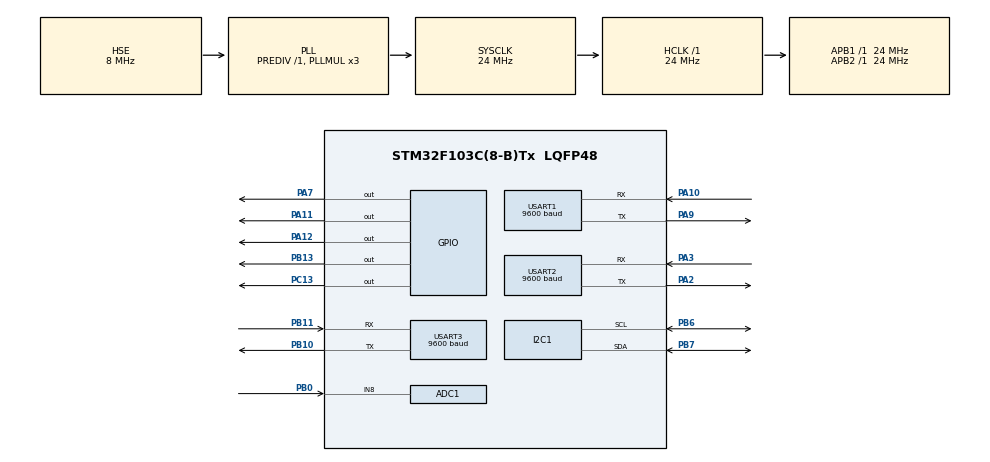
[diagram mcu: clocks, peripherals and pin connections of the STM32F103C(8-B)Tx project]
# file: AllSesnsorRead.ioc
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ADC1.Channel-0\#ChannelRegularConversion=ADC_CHANNEL_8
ADC1.NbrOfConversionFlag=1
ADC1.Rank-0\#ChannelRegularConversion=1
ADC1.SamplingTime-0\#ChannelRegularConversion=ADC_SAMPLETIME_1CYCLE_5
ADC1.master=1
Mcu.Family=STM32F1
Mcu.Name=STM32F103C(8-B)Tx
Mcu.Package=LQFP48
NVIC.PriorityGroup=NVIC_PRIORITYGROUP_4
NVIC.USART1_IRQn=true\:0\:0\:false\:false\:true\:true\:true\:true
PA10.Mode=Asynchronous
PA10.Signal=USART1_RX
PA11.Signal=GPIO_Output
PA12.Signal=GPIO_Output
PA13.Mode=Serial_Wire
PA13.Signal=SYS_JTMS-SWDIO
PA14.Mode=Serial_Wire
PA14.Signal=SYS_JTCK-SWCLK
PA2.Mode=Asynchronous
PA2.Signal=USART2_TX
PA3.Mode=Asynchronous
PA3.Signal=USART2_RX
PA7.Signal=GPIO_Output
PA9.Mode=Asynchronous
PA9.Signal=USART1_TX
PB0.Signal=ADCx_IN8
PB10.Mode=Asynchronous
PB10.Signal=USART3_TX
PB11.Mode=Asynchronous
PB11.Signal=USART3_RX
PB13.Signal=GPIO_Output
PB6.Mode=I2C
PB6.Signal=I2C1_SCL
PB7.Mode=I2C
PB7.Signal=I2C1_SDA
PC13-TAMPER-RTC.Signal=GPIO_Output
PD0-OSC_IN.Mode=HSE-External-Oscillator
PD0-OSC_IN.Signal=RCC_OSC_IN
PD1-OSC_OUT.Mode=HSE-External-Oscillator
PD1-OSC_OUT.Signal=RCC_OSC_OUT
ProjectManager.HeapSize=0x200
ProjectManager.StackSize=0x400
ProjectManager.TargetToolchain=STM32CubeIDE
RCC.AHBFreq_Value=24000000
RCC.APB1Freq_Value=24000000
RCC.APB1TimFreq_Value=24000000
RCC.APB2Freq_Value=24000000
RCC.APB2TimFreq_Value=24000000
RCC.HCLKFreq_Value=24000000
RCC.PLLMUL=RCC_PLL_MUL3
RCC.PLLSourceVirtual=RCC_PLLSOURCE_HSE
RCC.SYSCLKFreq_VALUE=24000000
RCC.SYSCLKSource=RCC_SYSCLKSOURCE_PLLCLK
RCC.USBFreq_Value=24000000
SH.ADCx_IN8.0=ADC1_IN8,IN8
USART1.BaudRate=9600
USART1.VirtualMode=VM_ASYNC
USART2.BaudRate=9600
USART2.VirtualMode=VM_ASYNC
USART3.BaudRate=9600
USART3.VirtualMode=VM_ASYNC
board=custom

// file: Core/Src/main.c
/* USER CODE BEGIN Header */
/**
  ******************************************************************************
  * @file           : main.c
  * @brief          : Main program body
  ******************************************************************************
  * @attention
  *
  * Copyright (c) 2025 STMicroelectronics.
  * All rights reserved.
  *
  * This software is licensed under terms that can be found in the LICENSE file
  * in the root directory of this software component.
  * If no LICENSE file comes with this software, it is provided AS-IS.
  *
  ******************************************************************************
  */
/* USER CODE END Header */
#include "main.h"

/* USER CODE BEGIN Includes */
#include "stdio.h"
#include "stdint.h"
#include "string.h"
/* USER CODE END Includes */

/* USER CODE BEGIN PTD */
typedef enum
{
	STATE_Wait,
	SHT31_DATA_READ,
	CO_DATA_READ,
	PM_DATA_READ,
	MAKE_AVARAGE,
	SEND_LORA,
	CLEAR_BUFFER,

}System_States;

typedef struct{
	uint16_t Lora_Addres;
	uint8_t Lora_Channel;
}Lora_Destination;

/* USER CODE END PTD */

/* USER CODE BEGIN PD */
#define SampleSize 10 							// kaç verinin ardarda okunacağını belirler
#define SHT31_ADDR (0x44 << 1)  				//sht31 addres
uint8_t sht31_read_command[2]= {0x2C , 0x06}; // 0x2C clock stretch enable , 0x06 high repeatibility
#define baslangıc 0xAA
#define final 0xAB
#define BufferSize 64

//	Sensörelerden okunan verilerin sonrasında ortalaması alınması için içinde saklanacağı değişken
volatile uint16_t temp_buff[SampleSize];
volatile uint16_t humidity_buff[SampleSize];
volatile uint16_t CO_buff[SampleSize];
volatile uint16_t PM25_buff[SampleSize];
volatile uint16_t PM10_buff[SampleSize];

volatile uint16_t avg_temperature_celsius; // SHT31 için ham sıcaklık ortalamasını veya °C'yi saklar
volatile uint16_t avg_humidity_percent;  	// SHT31 için ham nem ortalamasını veya %RH'yi saklar
volatile uint16_t avg_co_value;          	// CO sensörünün ortalama ham ADC değerini saklar
volatile uint16_t avg_pm25_ugm3;        	// PM2.5 için ortalama değeri (μg/m³) saklar
volatile uint16_t avg_pm10_ugm3;      	// PM10 için ortalama değeri (μg/m³) saklar
uint8_t byte;

Lora_Destination Current_Destination;
Lora_Destination Destination1;
Lora_Destination Destination2;
static volatile System_States state;

uint8_t veribuff[13];

/* USER CODE END PD */

ADC_HandleTypeDef hadc1;

I2C_HandleTypeDef hi2c1;

UART_HandleTypeDef huart1;
UART_HandleTypeDef huart2;
UART_HandleTypeDef huart3;

void SystemClock_Config(void);
static void MX_GPIO_Init(void);
static void MX_ADC1_Init(void);
static void MX_I2C1_Init(void);
static void MX_USART2_UART_Init(void);
static void MX_USART3_UART_Init(void);
static void MX_USART1_UART_Init(void);

/* USER CODE BEGIN 0 */

void HAL_UART_RxCpltCallback(UART_HandleTypeDef *huart){
	if (huart->Instance == USART1) {
		//HAL_PWR_DisableSleepOnExit();
		//HAL_ResumeTick();
		state=SHT31_DATA_READ;
		HAL_UART_Receive_IT(huart, &byte, 1);  // tekrar başlat
	}
}

void Lora_Send(uint8_t *message,uint8_t lenght,Lora_Destination *Destination){
	if(lenght < BufferSize){
		uint8_t tx_buffer[BufferSize+3];
		tx_buffer[0]=(Destination->Lora_Addres >> 8) & 0xFF;
		tx_buffer[1]= Destination->Lora_Addres & 0xFF;
		tx_buffer[2]= Destination->Lora_Channel;

		memcpy(&tx_buffer[3],message,lenght);
		HAL_UART_Transmit(&huart1, tx_buffer, lenght+3 ,HAL_MAX_DELAY);
}
}
void LedBlink(int time,int delay)
{
	for(int i=0;i<time;i++){
	HAL_GPIO_WritePin(GPIOB, GPIO_PIN_13, 1);
	HAL_Delay(delay);
	HAL_GPIO_WritePin(GPIOB, GPIO_PIN_13, 0);
	HAL_Delay(delay);
	}
}

uint8_t SDS_sensor(volatile uint16_t *pm25, volatile uint16_t *pm10) {
    uint8_t ch;
    uint8_t SDS_DATA[10];

    // İlk byte olarak 0xAA gelene kadar bekle
    do {
        if (HAL_UART_Receive(&huart2, &ch,1,100) != HAL_OK) {

            return 0; // timeout veya hata
        }
    } while (ch != 0xAA);

    SDS_DATA[0] = ch;

    // Kalan 9 byte'ı oku (toplam 10 byte olacak)
    if (HAL_UART_Receive(&huart2, &SDS_DATA[1], 9, 100) != HAL_OK) {
        return 0;
    }

    // Baş ve son byte kontrolü
    if (SDS_DATA[1] != 0xC0 || SDS_DATA[9] != 0xAB) {
        return 0;
    }

    // Checksum hesapla (Byte 2-7 toplamı)
    uint8_t sum = 0;
    for (int i = 2; i <= 7; i++) {
        sum += SDS_DATA[i];
    }
    if (SDS_DATA[8] != sum) {
        return 0;
    }

    // PM2.5 ve PM10 hesapla
    *pm25 = ((uint16_t)SDS_DATA[3] << 8 | SDS_DATA[2]) / 10;
    *pm10 = ((uint16_t)SDS_DATA[5] << 8 | SDS_DATA[4]) / 10;

    return 1;
}
void Veri_LowHigh(){
	veribuff[1] = avg_pm25_ugm3 & 0xFF;
	veribuff[2]= (avg_pm25_ugm3 >> 8) & 0xFF;
	veribuff[3] = avg_pm10_ugm3 & 0xFF;
	veribuff[4]= (avg_pm10_ugm3 >> 8) & 0xFF;
	veribuff[5] = avg_co_value & 0xFF;
	veribuff[6]= (avg_co_value >> 8) & 0xFF;
	veribuff[7]= avg_temperature_celsius & 0xFF;
	veribuff[8]= (avg_temperature_celsius >> 8) & 0xFF;
	veribuff[9]= avg_humidity_percent & 0xFF;
	veribuff[10]= (avg_humidity_percent >> 8) & 0xFF;

}
void CheckSum(){
	veribuff[11]= 0;
	for(int i=1;i<=10;i++){
		veribuff[11] += veribuff[i];
	}
}
/* USER CODE END 0 */

int main(void)
{

  /* USER CODE BEGIN 1 */
	Destination1.Lora_Addres=0x0002;
	Destination1.Lora_Channel=0x02;

	Destination2.Lora_Addres=0x0001;
	Destination2.Lora_Channel=0x02;

	Current_Destination = Destination1;

	veribuff[0]=baslangıc;
	veribuff[12]=final;

  /* USER CODE END 1 */

  /* MCU Configuration--------------------------------------------------------*/

  /* Reset of all peripherals, Initializes the Flash interface and the Systick. */
  HAL_Init();

  /* Configure the system clock */
  SystemClock_Config();

  /* Initialize all configured peripherals */
  MX_GPIO_Init();
  MX_ADC1_Init();
  MX_I2C1_Init();
  MX_USART2_UART_Init();
  MX_USART3_UART_Init();
  MX_USART1_UART_Init();
  /* USER CODE BEGIN 2 */
  HAL_UART_Receive_IT(&huart1, &byte, 1);
  LedBlink(3, 100);
  state=STATE_Wait;
  /* USER CODE END 2 */

  /* Infinite loop */
  /* USER CODE BEGIN WHILE */
  while (1)
  {
	  switch(state){
	  case STATE_Wait:
		  LedBlink(3,200);
	  break;
	 case SHT31_DATA_READ:			//okunana datalar ortlama alındıktan sorna anlamdırlacaka.
	  for(int i=0;i<SampleSize;i++)
	  {

		  uint8_t sht31_raw_data[6];
		  HAL_I2C_Master_Transmit(&hi2c1, SHT31_ADDR, sht31_read_command, 2, HAL_MAX_DELAY); // ölçüm istegi yolla
		  HAL_Delay(20);	//20ms datanin hazirlanmasi datasheet degeri 15ms

		  HAL_I2C_Master_Receive(&hi2c1, SHT31_ADDR, sht31_raw_data, 6, HAL_MAX_DELAY); 	// gelen verileri raw_dataya kaydet

		  temp_buff[i] = 		(sht31_raw_data[0] << 8) | sht31_raw_data[1];				//high bit ile low bitler OR yöntemi ile 16bit buffere kaydedildi
		  humidity_buff[i] =	(sht31_raw_data[3] << 8) | sht31_raw_data[4];
	  }
	  state = CO_DATA_READ;
	break;

	  case CO_DATA_READ:
		  for(int i=0;i<SampleSize;i++)
		  {
			  HAL_ADC_Start(&hadc1);								//adc yi başlat

			  if(HAL_ADC_PollForConversion(&hadc1,100) == HAL_OK)	//okumanın bitmesini bekle
			  {
				  CO_buff[i] = HAL_ADC_GetValue(&hadc1);			//değeri buffere ekle
			  }
			  else{
				  i-=1;
			  }
		  }
		  state = PM_DATA_READ;
		  break;

	  case PM_DATA_READ:
		  for(int i=0;i<SampleSize;i++)
		  {
			 while(!SDS_sensor(&PM25_buff[i],&PM10_buff[i]));// eğer Sensörden veri gelmiyorsa burda döngüye giriyor

		  }
		  state = MAKE_AVARAGE;
		  break;
	  case MAKE_AVARAGE:
		  // TÜm değerleri toplamak için gerekli değişkenler

		  uint32_t sum_temp = 0;
		  uint32_t sum_humidity = 0;
		  uint32_t sum_co = 0;
		  uint32_t sum_pm25 = 0;
		  uint32_t sum_pm10 = 0;

		  // 1. Adım: Tüm örneklerin toplamını al
		  for (int k = 0; k < SampleSize; k++)
		  {
			  sum_temp += temp_buff[k];
			  sum_humidity += humidity_buff[k];
			  sum_co += CO_buff[k];
			  sum_pm25 += PM25_buff[k];
			  sum_pm10 += PM10_buff[k];
		  }

		avg_temperature_celsius = sum_temp / SampleSize; 	// SHT31
		avg_humidity_percent = sum_humidity / SampleSize;

		avg_co_value = sum_co / SampleSize;					//CO

		avg_pm25_ugm3 = sum_pm25 / SampleSize; 		//PM
		avg_pm10_ugm3 = sum_pm10 / SampleSize;

		state = SEND_LORA;

		  break;

	  case SEND_LORA:
		  Veri_LowHigh();
		  CheckSum();
		  Lora_Send(veribuff,sizeof(veribuff),&Current_Destination);
			 state = CLEAR_BUFFER;
		  break;

	  case CLEAR_BUFFER:
		  for(int i=0;i<SampleSize;i++)
		  {
			  temp_buff[i]=0;
			  humidity_buff[i]=0;
			  CO_buff[i]=0;
			  PM25_buff[i]=0;
			  PM10_buff[i]=0;
		  }

		  state = STATE_Wait;
		  break;

  }

    /* USER CODE END WHILE */

  }
}

void SystemClock_Config(void)
{
  RCC_OscInitTypeDef RCC_OscInitStruct = {0};
  RCC_ClkInitTypeDef RCC_ClkInitStruct = {0};
  RCC_PeriphCLKInitTypeDef PeriphClkInit = {0};

  /** Initializes the RCC Oscillators according to the specified parameters
  * in the RCC_OscInitTypeDef structure.
  */
  RCC_OscInitStruct.OscillatorType = RCC_OSCILLATORTYPE_HSE;
  RCC_OscInitStruct.HSEState = RCC_HSE_ON;
  RCC_OscInitStruct.HSEPredivValue = RCC_HSE_PREDIV_DIV1;
  RCC_OscInitStruct.HSIState = RCC_HSI_ON;
  RCC_OscInitStruct.PLL.PLLState = RCC_PLL_ON;
  RCC_OscInitStruct.PLL.PLLSource = RCC_PLLSOURCE_HSE;
  RCC_OscInitStruct.PLL.PLLMUL = RCC_PLL_MUL3;
  if (HAL_RCC_OscConfig(&RCC_OscInitStruct) != HAL_OK)
  {
    Error_Handler();
  }

  /** Initializes the CPU, AHB and APB buses clocks
  */
  RCC_ClkInitStruct.ClockType = RCC_CLOCKTYPE_HCLK|RCC_CLOCKTYPE_SYSCLK
                              |RCC_CLOCKTYPE_PCLK1|RCC_CLOCKTYPE_PCLK2;
  RCC_ClkInitStruct.SYSCLKSource = RCC_SYSCLKSOURCE_PLLCLK;
  RCC_ClkInitStruct.AHBCLKDivider = RCC_SYSCLK_DIV1;
  RCC_ClkInitStruct.APB1CLKDivider = RCC_HCLK_DIV1;
  RCC_ClkInitStruct.APB2CLKDivider = RCC_HCLK_DIV1;

  if (HAL_RCC_ClockConfig(&RCC_ClkInitStruct, FLASH_LATENCY_0) != HAL_OK)
  {
    Error_Handler();
  }
  PeriphClkInit.PeriphClockSelection = RCC_PERIPHCLK_ADC;
  PeriphClkInit.AdcClockSelection = RCC_ADCPCLK2_DIV2;
  if (HAL_RCCEx_PeriphCLKConfig(&PeriphClkInit) != HAL_OK)
  {
    Error_Handler();
  }
}

static void MX_ADC1_Init(void)
{

  ADC_ChannelConfTypeDef sConfig = {0};

  /** Common config
  */
  hadc1.Instance = ADC1;
  hadc1.Init.ScanConvMode = ADC_SCAN_DISABLE;
  hadc1.Init.ContinuousConvMode = DISABLE;
  hadc1.Init.DiscontinuousConvMode = DISABLE;
  hadc1.Init.ExternalTrigConv = ADC_SOFTWARE_START;
  hadc1.Init.DataAlign = ADC_DATAALIGN_RIGHT;
  hadc1.Init.NbrOfConversion = 1;
  if (HAL_ADC_Init(&hadc1) != HAL_OK)
  {
    Error_Handler();
  }

  /** Configure Regular Channel
  */
  sConfig.Channel = ADC_CHANNEL_8;
  sConfig.Rank = ADC_REGULAR_RANK_1;
  sConfig.SamplingTime = ADC_SAMPLETIME_1CYCLE_5;
  if (HAL_ADC_ConfigChannel(&hadc1, &sConfig) != HAL_OK)
  {
    Error_Handler();
  }

}

static void MX_I2C1_Init(void)
{

  hi2c1.Instance = I2C1;
  hi2c1.Init.ClockSpeed = 100000;
  hi2c1.Init.DutyCycle = I2C_DUTYCYCLE_2;
  hi2c1.Init.OwnAddress1 = 0;
  hi2c1.Init.AddressingMode = I2C_ADDRESSINGMODE_7BIT;
  hi2c1.Init.DualAddressMode = I2C_DUALADDRESS_DISABLE;
  hi2c1.Init.OwnAddress2 = 0;
  hi2c1.Init.GeneralCallMode = I2C_GENERALCALL_DISABLE;
  hi2c1.Init.NoStretchMode = I2C_NOSTRETCH_DISABLE;
  if (HAL_I2C_Init(&hi2c1) != HAL_OK)
  {
    Error_Handler();
  }

}

static void MX_USART1_UART_Init(void)
{

  huart1.Instance = USART1;
  huart1.Init.BaudRate = 9600;
  huart1.Init.WordLength = UART_WORDLENGTH_8B;
  huart1.Init.StopBits = UART_STOPBITS_1;
  huart1.Init.Parity = UART_PARITY_NONE;
  huart1.Init.Mode = UART_MODE_TX_RX;
  huart1.Init.HwFlowCtl = UART_HWCONTROL_NONE;
  huart1.Init.OverSampling = UART_OVERSAMPLING_16;
  if (HAL_UART_Init(&huart1) != HAL_OK)
  {
    Error_Handler();
  }

}

static void MX_USART2_UART_Init(void)
{

  huart2.Instance = USART2;
  huart2.Init.BaudRate = 9600;
  huart2.Init.WordLength = UART_WORDLENGTH_8B;
  huart2.Init.StopBits = UART_STOPBITS_1;
  huart2.Init.Parity = UART_PARITY_NONE;
  huart2.Init.Mode = UART_MODE_TX_RX;
  huart2.Init.HwFlowCtl = UART_HWCONTROL_NONE;
  huart2.Init.OverSampling = UART_OVERSAMPLING_16;
  if (HAL_UART_Init(&huart2) != HAL_OK)
  {
    Error_Handler();
  }

}

static void MX_USART3_UART_Init(void)
{

  huart3.Instance = USART3;
  huart3.Init.BaudRate = 9600;
  huart3.Init.WordLength = UART_WORDLENGTH_8B;
  huart3.Init.StopBits = UART_STOPBITS_1;
  huart3.Init.Parity = UART_PARITY_NONE;
  huart3.Init.Mode = UART_MODE_TX_RX;
  huart3.Init.HwFlowCtl = UART_HWCONTROL_NONE;
  huart3.Init.OverSampling = UART_OVERSAMPLING_16;
  if (HAL_UART_Init(&huart3) != HAL_OK)
  {
    Error_Handler();
  }

}

static void MX_GPIO_Init(void)
{
  GPIO_InitTypeDef GPIO_InitStruct = {0};

  /* GPIO Ports Clock Enable */
  __HAL_RCC_GPIOC_CLK_ENABLE();
  __HAL_RCC_GPIOD_CLK_ENABLE();
  __HAL_RCC_GPIOA_CLK_ENABLE();
  __HAL_RCC_GPIOB_CLK_ENABLE();

  /*Configure GPIO pin Output Level */
  HAL_GPIO_WritePin(GPIOC, GPIO_PIN_13, GPIO_PIN_RESET);

  /*Configure GPIO pin Output Level */
  HAL_GPIO_WritePin(GPIOA, GPIO_PIN_7|GPIO_PIN_11|GPIO_PIN_12, GPIO_PIN_RESET);

  /*Configure GPIO pin Output Level */
  HAL_GPIO_WritePin(GPIOB, GPIO_PIN_13, GPIO_PIN_RESET);

  /*Configure GPIO pin : PC13 */
  GPIO_InitStruct.Pin = GPIO_PIN_13;
  GPIO_InitStruct.Mode = GPIO_MODE_OUTPUT_PP;
  GPIO_InitStruct.Pull = GPIO_NOPULL;
  GPIO_InitStruct.Speed = GPIO_SPEED_FREQ_LOW;
  HAL_GPIO_Init(GPIOC, &GPIO_InitStruct);

  /*Configure GPIO pins : PA7 PA11 PA12 */
  GPIO_InitStruct.Pin = GPIO_PIN_7|GPIO_PIN_11|GPIO_PIN_12;
  GPIO_InitStruct.Mode = GPIO_MODE_OUTPUT_PP;
  GPIO_InitStruct.Pull = GPIO_NOPULL;
  GPIO_InitStruct.Speed = GPIO_SPEED_FREQ_LOW;
  HAL_GPIO_Init(GPIOA, &GPIO_InitStruct);

  /*Configure GPIO pin : PB13 */
  GPIO_InitStruct.Pin = GPIO_PIN_13;
  GPIO_InitStruct.Mode = GPIO_MODE_OUTPUT_PP;
  GPIO_InitStruct.Pull = GPIO_NOPULL;
  GPIO_InitStruct.Speed = GPIO_SPEED_FREQ_LOW;
  HAL_GPIO_Init(GPIOB, &GPIO_InitStruct);

}

void Error_Handler(void)
{
  __disable_irq();
  while (1)
  {
  }
}
